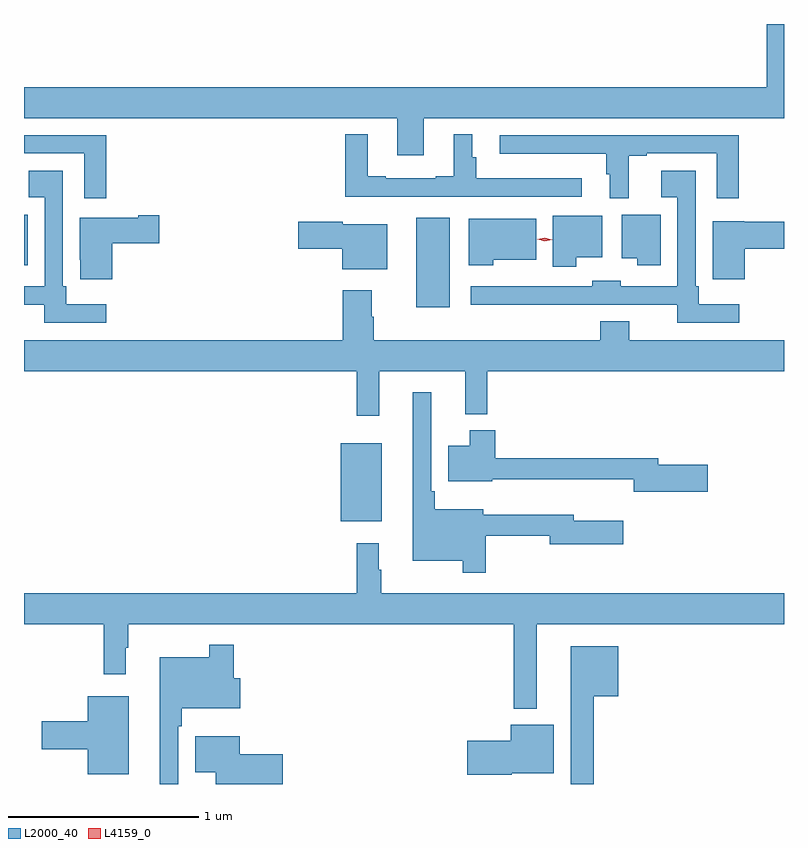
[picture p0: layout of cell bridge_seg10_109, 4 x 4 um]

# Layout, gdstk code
import gdstk
lib = gdstk.Library(unit=1e-6, precision=1e-09)
def R(c, l, rs):  # rectangles x0, y0, x1, y1
    for r in rs: c.add(gdstk.rectangle(r[:2], r[2:], *l))
def P(c, l, *ps):  # polygons
    for p in ps: c.add(gdstk.Polygon(p, *l))
L2000_40 = (2000, 40)
L4159_0 = (4159, 0)

bridge_seg10_109 = lib.new_cell('bridge_seg10_109')
R(bridge_seg10_109, L2000_40, [(446.408,1255.571,446.623,1255.981), (446.804,1256.696,446.98,1257.169), (444.74,1256.918,444.76,1257.184)])
P(bridge_seg10_109, L2000_40, [(446.845,1257.692),(448.74,1257.692),(448.74,1258.188),(448.65,1258.188),(448.65,1257.856),(444.74,1257.856),(444.74,1257.692),(446.705,1257.692),(446.705,1257.498),(446.845,1257.498)],
  [(446.723,1257.279),(447.676,1257.279),(447.676,1257.376),(447.119,1257.376),(447.119,1257.486),(447.1,1257.486),(447.1,1257.607),(447.002,1257.607),(447.002,1257.388),(446.906,1257.388),(446.906,1257.375),(446.644,1257.375),(446.644,1257.388),(446.548,1257.388),(446.548,1257.607),(446.431,1257.607),(446.431,1257.278),(446.723,1257.278)],
  [(447.922,1257.495),(448.018,1257.495),(448.018,1257.507),(448.386,1257.507),(448.386,1257.27),(448.502,1257.27),(448.502,1257.603),(447.243,1257.603),(447.243,1257.506),(447.805,1257.506),(447.805,1257.396),(447.824,1257.396),(447.824,1257.27),(447.922,1257.27)],
  [(445.172,1257.603),(444.74,1257.603),(444.74,1257.507),(445.056,1257.507),(445.056,1257.27),(445.172,1257.27)],
  [(448.504,1256.713),(448.292,1256.713),(448.292,1256.809),(448.275,1256.809),(448.275,1257.415),(448.095,1257.415),(448.095,1257.275),(448.179,1257.275),(448.179,1256.808),(447.882,1256.808),(447.882,1256.836),(447.732,1256.836),(447.732,1256.808),(447.428,1256.808),(447.428,1256.809),(447.09,1256.809),(447.09,1256.711),(448.177,1256.711),(448.177,1256.616),(448.504,1256.616)],
  [(445.174,1256.713),(444.962,1256.713),(444.962,1256.809),(444.945,1256.809),(444.945,1257.415),(444.765,1257.415),(444.765,1257.275),(444.849,1257.275),(444.849,1256.808),(444.74,1256.808),(444.74,1256.711),(444.847,1256.711),(444.847,1256.616),(445.174,1256.616)],
  [(448.09,1257.184),(447.887,1257.184),(447.887,1256.954),(447.968,1256.954),(447.968,1256.918),(448.09,1256.918)],
  [(445.204,1257.035),(445.453,1257.035),(445.453,1257.182),(445.34,1257.182),(445.34,1257.169),(445.034,1257.169),(445.034,1256.947),(445.035,1256.947),(445.035,1256.844),(445.204,1256.844)],
  [(447.646,1256.96),(447.784,1256.96),(447.784,1257.178),(447.524,1257.178),(447.524,1256.91),(447.646,1256.91)],
  [(447.21,1256.948),(447.436,1256.948),(447.436,1257.163),(447.08,1257.163),(447.08,1256.918),(447.21,1256.918)],
  [(448.534,1257.004),(448.74,1257.004),(448.74,1257.146),(448.53,1257.146),(448.53,1257.151),(448.364,1257.151),(448.364,1256.947),(448.365,1256.947),(448.365,1256.844),(448.534,1256.844)],
  [(446.653,1257.133),(446.418,1257.133),(446.418,1257.146),(446.184,1257.146),(446.184,1257.004),(446.414,1257.004),(446.414,1256.897),(446.653,1256.897)],
  [(446.609,1256.36),(447.062,1256.36),(447.062,1256.135),(447.179,1256.135),(447.179,1256.36),(448.74,1256.36),(448.74,1256.524),(447.925,1256.524),(447.925,1256.623),(447.773,1256.623),(447.773,1256.524),(446.582,1256.524),(446.582,1256.648),(446.569,1256.648),(446.569,1256.788),(446.417,1256.788),(446.417,1256.524),(444.74,1256.524),(444.74,1256.36),(446.491,1256.36),(446.491,1256.127),(446.609,1256.127)],
  [(447.169,1255.494),(447.506,1255.494),(447.506,1255.451),(447.895,1255.451),(447.895,1255.573),(447.634,1255.573),(447.634,1255.604),(447.157,1255.604),(447.157,1255.633),(446.903,1255.633),(446.903,1255.729),(446.883,1255.729),(446.883,1256.251),(446.786,1256.251),(446.786,1255.364),(447.048,1255.364),(447.048,1255.299),(447.169,1255.299)],
  [(448.339,1255.869),(448.078,1255.869),(448.078,1255.903),(447.221,1255.903),(447.221,1256.05),(447.086,1256.05),(447.086,1255.969),(446.972,1255.969),(446.972,1255.781),(447.204,1255.781),(447.204,1255.793),(447.654,1255.793),(447.654,1255.792),(447.95,1255.792),(447.95,1255.727),(448.339,1255.727)],
  [(447.439,1255.028),(448.74,1255.028),(448.74,1255.192),(446.62,1255.192),(446.62,1255.316),(446.608,1255.316),(446.608,1255.456),(446.491,1255.456),(446.491,1255.192),(444.74,1255.192),(444.74,1255.028),(445.159,1255.028),(445.159,1254.765),(445.276,1254.765),(445.276,1254.905),(445.288,1254.905),(445.288,1255.028),(447.318,1255.028),(447.318,1254.584),(447.439,1254.584)],
  [(445.551,1254.491),(445.571,1254.491),(445.571,1254.587),(445.879,1254.587),(445.879,1254.745),(445.844,1254.745),(445.844,1254.922),(445.716,1254.922),(445.716,1254.856),(445.454,1254.856),(445.454,1254.188),(445.551,1254.188)],
  [(447.739,1254.65),(447.868,1254.65),(447.868,1254.913),(447.617,1254.913),(447.617,1254.188),(447.739,1254.188)],
  [(445.291,1254.649),(445.076,1254.649),(445.076,1254.518),(444.834,1254.518),(444.834,1254.371),(445.076,1254.371),(445.076,1254.239),(445.291,1254.239)],
  [(447.306,1254.245),(447.529,1254.245),(447.529,1254.499),(447.302,1254.499),(447.302,1254.416),(447.072,1254.416),(447.072,1254.238),(447.306,1254.238)],
  [(446.101,1254.344),(445.876,1254.344),(445.876,1254.439),(445.64,1254.439),(445.64,1254.251),(445.748,1254.251),(445.748,1254.188),(446.101,1254.188)])
P(bridge_seg10_109, L4159_0, [(447.48,1257.044),(447.441,1257.055),(447.441,1257.055),(447.441,1257.055),(447.481,1257.064),(447.52,1257.053),(447.52,1257.053),(447.52,1257.052)])

lib.write_gds('bridge_seg10_109.gds')
